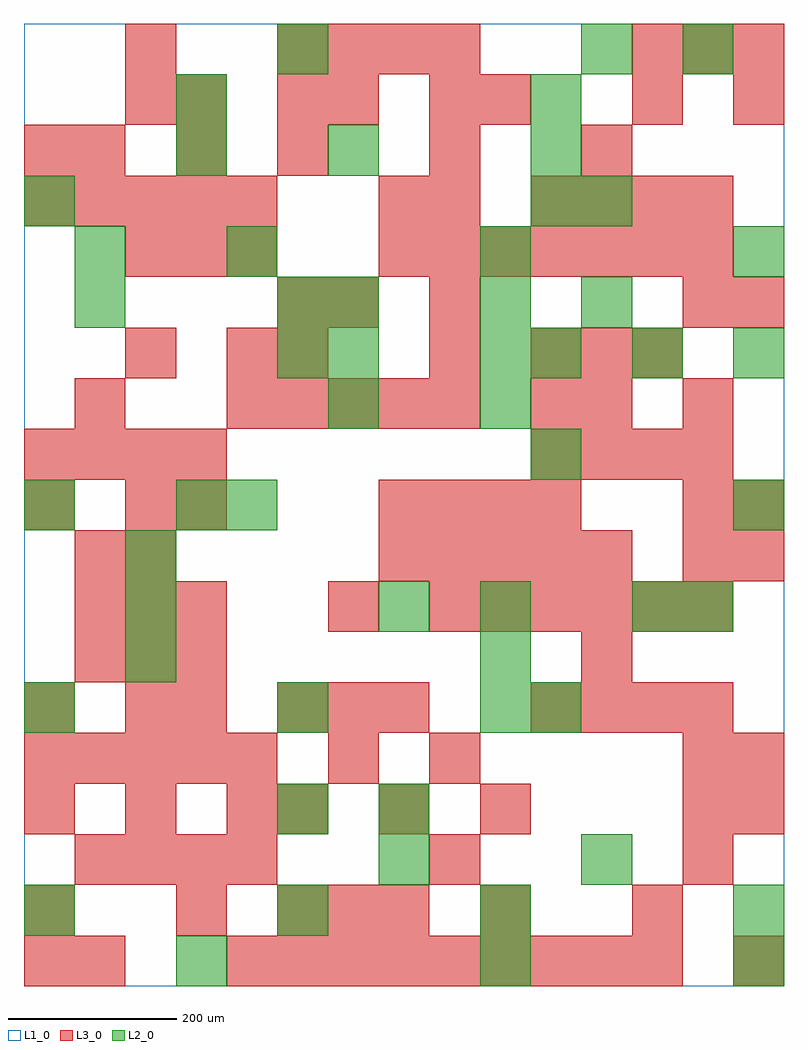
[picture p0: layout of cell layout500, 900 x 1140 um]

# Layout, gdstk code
import gdstk
lib = gdstk.Library(unit=1e-6, precision=1e-09)
def R(c, l, rs):  # rectangles x0, y0, x1, y1
    for r in rs: c.add(gdstk.rectangle(r[:2], r[2:], *l))
def A(c, l, x, y, w, h, nx, ny, dx, dy):  # array of equal rectangles
    R(c, l, [(x+i*dx, y+j*dy, x+i*dx+w, y+j*dy+h) for i in range(nx) for j in range(ny)])
L1_0 = (1, 0)
L2_0 = (2, 0)
L3_0 = (3, 0)

layout500 = lib.new_cell('layout500')
R(layout500, L1_0, [(0,0,900,1140)])
A(layout500, L2_0, 0, 60, 60, 60, 1, 3, 0, 240)
A(layout500, L2_0, 300, 60, 60, 60, 1, 3, 0, 120)
A(layout500, L2_0, 540, 300, 60, 60, 1, 3, 0, 60)
A(layout500, L2_0, 600, 300, 60, 60, 1, 3, 0, 300)
A(layout500, L2_0, 120, 360, 60, 60, 1, 3, 0, 60)
A(layout500, L2_0, 360, 660, 60, 60, 1, 3, 0, 60)
A(layout500, L2_0, 540, 660, 60, 60, 1, 3, 0, 60)
A(layout500, L2_0, 600, 720, 60, 60, 3, 1, 120, 0)
A(layout500, L2_0, 240, 840, 60, 60, 3, 1, 300, 0)
R(layout500, L2_0, [(180,0,240,60), (540,0,600,60), (840,0,900,60), (540,60,600,120), (840,60,900,120), (420,120,480,180), (660,120,720,180), (420,180,480,240), (420,420,480,480), (720,420,780,480), (780,420,840,480), (180,540,240,600), (240,540,300,600), (840,540,900,600), (300,720,360,780), (60,780,120,840), (300,780,360,840), (660,780,720,840), (60,840,120,900), (0,900,60,960), (660,900,720,960), (180,960,240,1020), (360,960,420,1020), (600,960,660,1020), (180,1020,240,1080), (600,1020,660,1080), (300,1080,360,1140), (660,1080,720,1140), (780,1080,840,1140)])
A(layout500, L3_0, 240, 0, 60, 60, 9, 1, 60, 0)
A(layout500, L3_0, 0, 60, 60, 60, 1, 3, 0, 240)
A(layout500, L3_0, 180, 60, 60, 60, 1, 3, 0, 240)
A(layout500, L3_0, 300, 60, 60, 60, 3, 2, 60, 240)
A(layout500, L3_0, 60, 120, 60, 60, 4, 1, 60, 0)
A(layout500, L3_0, 780, 120, 60, 60, 1, 3, 0, 60)
A(layout500, L3_0, 0, 180, 60, 60, 3, 1, 120, 0)
A(layout500, L3_0, 300, 180, 60, 60, 3, 1, 120, 0)
A(layout500, L3_0, 0, 240, 60, 60, 5, 2, 60, 660)
A(layout500, L3_0, 600, 300, 60, 60, 4, 3, 60, 300)
A(layout500, L3_0, 60, 360, 60, 60, 3, 2, 60, 60)
A(layout500, L3_0, 660, 360, 60, 60, 1, 3, 0, 300)
A(layout500, L3_0, 480, 420, 60, 60, 6, 1, 60, 0)
A(layout500, L3_0, 420, 480, 60, 60, 5, 1, 60, 0)
A(layout500, L3_0, 420, 540, 60, 60, 4, 1, 60, 0)
A(layout500, L3_0, 780, 540, 60, 60, 1, 3, 0, 120)
A(layout500, L3_0, 840, 540, 60, 60, 1, 3, 0, 240)
A(layout500, L3_0, 0, 600, 60, 60, 4, 1, 60, 0)
A(layout500, L3_0, 240, 660, 60, 60, 5, 1, 60, 0)
A(layout500, L3_0, 600, 720, 60, 60, 3, 1, 60, 0)
A(layout500, L3_0, 120, 840, 60, 60, 3, 1, 60, 0)
A(layout500, L3_0, 420, 840, 60, 60, 7, 1, 60, 0)
A(layout500, L3_0, 480, 900, 60, 60, 1, 3, 0, 60)
A(layout500, L3_0, 60, 960, 60, 60, 3, 1, 120, 0)
A(layout500, L3_0, 300, 1080, 60, 60, 4, 1, 60, 0)
A(layout500, L3_0, 720, 1080, 60, 60, 3, 1, 60, 0)
R(layout500, L3_0, [(0,0,60,60), (60,0,120,60), (840,0,900,60), (540,60,600,120), (720,60,780,120), (480,120,540,180), (840,180,900,240), (360,240,420,300), (480,240,540,300), (840,240,900,300), (120,300,180,360), (360,420,420,480), (60,480,120,540), (120,480,180,540), (780,480,840,540), (840,480,900,540), (120,540,180,600), (60,660,120,720), (600,660,660,720), (120,720,180,780), (240,720,300,780), (300,720,360,780), (480,720,540,780), (300,780,360,840), (360,780,420,840), (480,780,540,840), (420,900,480,960), (0,960,60,1020), (120,1020,180,1080), (180,1020,240,1080), (300,1020,360,1080), (360,1020,420,1080), (540,1020,600,1080), (720,1020,780,1080), (120,1080,180,1140)])

lib.write_gds('layout500.gds')
